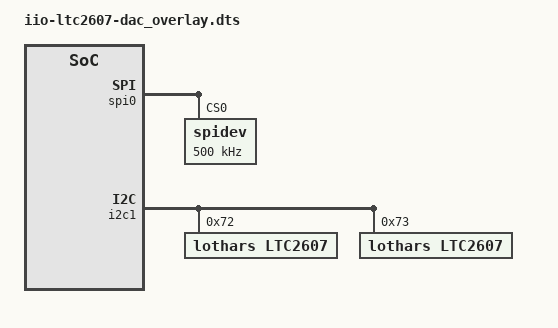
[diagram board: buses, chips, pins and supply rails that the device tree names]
/dts-v1/;
/plugin/;
/ {
	compatible = "raspberrypi,3-model-b", "brcm,brcm2835";
	fragment@0 {
		target = <&spi0>;
		__overlay__ {
			#address-cells = <1>;
			#size-cells = <0>;
			spidev@0 {
				reg = <0>;
 				spi-max-frequency = <500000>;
			};
		};
	};
	fragment@1 {
		target = <&i2c1>;
		__overlay__ {
			#address-cells = <1>;
			#size-cells = <0>;
			status = "okay";

 			ltc2607@72 {
 				compatible = "lothars,ltc2607";
 				reg = <0x72>;
 			};

 			ltc2607@73 {
 				compatible = "lothars,ltc2607";
 				reg = <0x73>;
 			};
		};
	};
};
